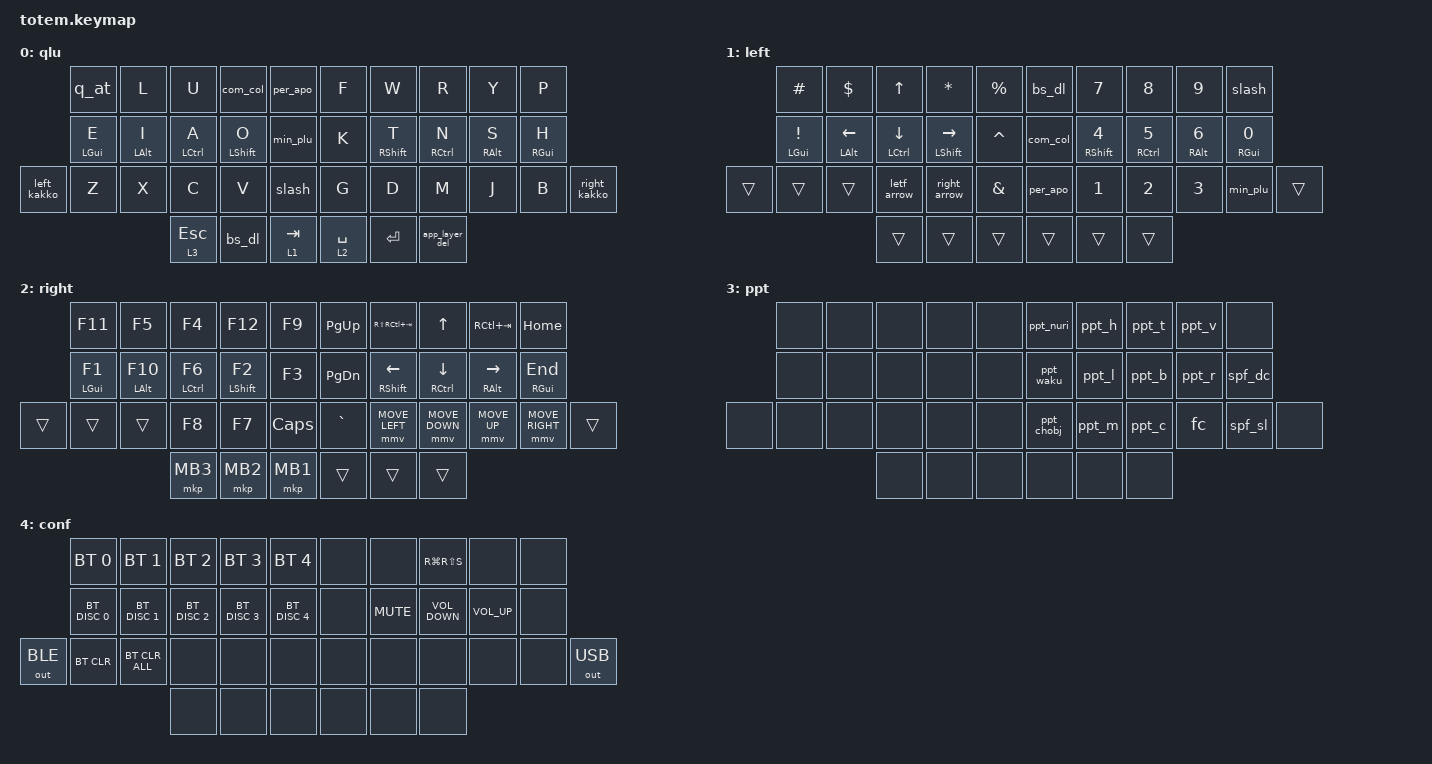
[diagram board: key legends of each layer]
#define ZMK_POINTING_DEFAULT_MOVE_VAL 1200  // 600
#define ZMK_POINTING_DEFAULT_SCRL_VAL 100   // 10

#include <behaviors.dtsi>
#include <dt-bindings/zmk/bt.h>
#include <dt-bindings/zmk/keys.h>
#include <dt-bindings/zmk/outputs.h>
#include <dt-bindings/zmk/pointing.h>

&mt {
    quick-tap-ms = <200>;
    flavor = "tap-preferred";
    tapping-term-ms = <225>;
    require-prior-idle-ms = <150>;
};

&lt {
    tapping-term-ms = <175>;
    quick-tap-ms = <200>;
    require-prior-idle-ms = <(-1)>;
    flavor = "hold-preferred";
};

/ {
    combos {
        compatible = "zmk,combos";

        en {
            bindings = <&kp LANGUAGE_2>;
            key-positions = <26 28>;
        };

        cp {
            bindings = <&kp LC(C)>;
            key-positions = <22 23>;
        };

        opst {
            bindings = <&kp LS(LC(V))>;
            key-positions = <24 25>;
        };

        jp {
            bindings = <&kp LANGUAGE_1>;
            key-positions = <27 28>;
        };
    };

    behaviors {
        bs_dl: bs_dl {
            compatible = "zmk,behavior-mod-morph";
            label = "BS_DL";
            bindings = <&kp BACKSPACE>, <&kp DELETE>;

            #binding-cells = <0>;
            mods = <(MOD_LSFT|MOD_RSFT)>;
        };

        app_layer_del: app_layer_del {
            compatible = "zmk,behavior-tap-dance";
            label = "APP_LAYER_DEL";
            #binding-cells = <0>;
            bindings = <&lt 4 K_APPLICATION>, <&kp DEL>;
        };

        min_plu: min_plu {
            compatible = "zmk,behavior-tap-dance";
            label = "MIN_PLU";
            #binding-cells = <0>;
            bindings = <&kp MINUS>, <&kp EQUAL>;
        };

        slash: slash {
            compatible = "zmk,behavior-tap-dance";
            label = "SLASH";
            #binding-cells = <0>;
            bindings = <&kp SLASH>, <&kp BACKSLASH>;
        };

        left_kakko: left_kakko {
            compatible = "zmk,behavior-tap-dance";
            label = "LEFT_KAKKO";
            #binding-cells = <0>;
            bindings = <&kp LEFT_PARENTHESIS>, <&kp LEFT_BRACKET>;
        };

        right_kakko: right_kakko {
            compatible = "zmk,behavior-tap-dance";
            label = "RIGHT_KAKKO";
            #binding-cells = <0>;
            bindings = <&kp RIGHT_PARENTHESIS>, <&kp RIGHT_BRACKET>;
        };

        com_col: com_col {
            compatible = "zmk,behavior-tap-dance";
            label = "COM_COL";
            #binding-cells = <0>;
            bindings = <&kp COMMA>, <&kp SEMICOLON>;
        };

        per_apo: per_apo {
            compatible = "zmk,behavior-tap-dance";
            label = "PER_APO";
            #binding-cells = <0>;
            bindings = <&kp PERIOD>, <&kp APOS>;
        };

        q_at: q_at {
            compatible = "zmk,behavior-tap-dance";
            label = "Q_AT";
            #binding-cells = <0>;
            bindings = <&kp Q>, <&kp AT_SIGN>;
        };
    };

    macros {
        right_arrow: right_arrow {
            compatible = "zmk,behavior-macro";
            #binding-cells = <0>;
            bindings = <&kp MINUS &kp GT>;
            label = "RIGHT_ARROW";
        };

        letf_arrow: letf_arrow {
            compatible = "zmk,behavior-macro";
            #binding-cells = <0>;
            bindings = <&kp LT &kp MINUS>;
            label = "LETF_ARROW";
        };

        ppt_l: ppt_l {
            compatible = "zmk,behavior-macro";
            #binding-cells = <0>;
            bindings = <&kp LA(H) &kp G &kp A &kp L>;
            label = "PPT_L";
        };

        ppt_r: ppt_r {
            compatible = "zmk,behavior-macro";
            #binding-cells = <0>;
            bindings = <&kp LA(H) &kp G &kp A &kp R>;
            label = "PPT_R";
        };

        ppt_t: ppt_t {
            compatible = "zmk,behavior-macro";
            #binding-cells = <0>;
            bindings = <&kp LA(H) &kp G &kp A &kp T>;
            label = "PPT_T";
        };

        ppt_b: ppt_b {
            compatible = "zmk,behavior-macro";
            #binding-cells = <0>;
            bindings = <&kp LA(H) &kp G &kp A &kp B>;
            label = "PPT_B";
        };

        ppt_h: ppt_h {
            compatible = "zmk,behavior-macro";
            #binding-cells = <0>;
            bindings = <&kp LA(H) &kp G &kp A &kp H>;
            label = "PPT_H";
        };

        ppt_v: ppt_v {
            compatible = "zmk,behavior-macro";
            #binding-cells = <0>;
            bindings = <&kp LA(H) &kp G &kp A &kp V>;
            label = "PPT_V";
        };

        ppt_m: ppt_m {
            compatible = "zmk,behavior-macro";
            #binding-cells = <0>;
            bindings = <&kp LA(H) &kp G &kp A &kp M>;
            label = "PPT_M";
        };

        ppt_c: ppt_c {
            compatible = "zmk,behavior-macro";
            #binding-cells = <0>;
            bindings = <&kp LA(H) &kp G &kp A &kp C>;
            label = "PPT_c";
        };

        ppt_nuri: ppt_nuri {
            compatible = "zmk,behavior-macro";
            #binding-cells = <0>;
            bindings = <&kp LEFT_ALT &kp J &kp D &kp S &kp F>;
            label = "PPT_NURI";
        };

        ppt_waku: ppt_waku {
            compatible = "zmk,behavior-macro";
            #binding-cells = <0>;
            bindings = <&kp LEFT_ALT &kp J &kp D &kp S &kp O>;
            label = "PPT_WAKU";
        };

        ppt_chobj: ppt_chobj {
            compatible = "zmk,behavior-macro";
            #binding-cells = <0>;
            bindings = <&kp LEFT_ALT &kp J &kp D &kp E>;
            label = "PPT_CHOBJ";
        };

        fc: fc {
            compatible = "zmk,behavior-macro";
            #binding-cells = <0>;
            bindings = <&kp LA(H) &kp F &kp C>;
            label = "FC";
        };

        spf_dc: spf_dc {
            compatible = "zmk,behavior-macro";
            #binding-cells = <0>;
            bindings =
                <&kp LANGUAGE_2>,
                <&macro_wait_time 75>,
                <&kp LA(I)>,
                <&macro_wait_time 75>,
                <&kp LS(Y)>,
                <&macro_wait_time 75>,
                <&kp C>;

            label = "SPF_DC";
        };

        spf_sl: spf_sl {
            compatible = "zmk,behavior-macro";
            #binding-cells = <0>;
            bindings =
                <&kp LANGUAGE_2>,
                <&macro_wait_time 75>,
                <&kp LA(I)>,
                <&macro_wait_time 75>,
                <&kp C>;

            label = "SPF_SL";
        };
    };

    keymap {
        compatible = "zmk,keymap";

        base_layer {
            label = "qlu";
            bindings = <
             &q_at       &kp L       &kp U         &com_col     &per_apo     &kp F        &kp W        &kp R           &kp Y       &kp P
             &mt LGUI E  &mt LALT I  &mt LCTRL A   &mt LSHFT O  &min_plu     &kp K        &mt RSHFT T  &mt RCTRL N     &mt RALT S  &mt RGUI H
&left_kakko  &kp Z       &kp X       &kp C         &kp V        &slash       &kp G        &kp D        &kp M           &kp J       &kp B       &right_kakko
                                     &lt 3 ESCAPE  &bs_dl       &lt 1 TAB    &lt 2 SPACE  &kp ENTER    &app_layer_del
            >;
        };

        left {
            label = "left";
            bindings = <
        &kp HASH              &kp DOLLAR     &kp UP_ARROW          &kp ASTERISK     &kp PERCENT    &bs_dl    &kp N7              &kp N8        &kp N9             &slash
        &mt LGUI EXCLAMATION  &mt LALT LEFT  &mt LCTRL DOWN_ARROW  &mt LSHFT RIGHT  &kp CARET      &com_col  &mt RSHFT NUMBER_4  &mt RCTRL N5  &mt RALT NUMBER_6  &mt RIGHT_GUI N0
&trans  &trans                &trans         &letf_arrow           &right_arrow     &kp AMPS       &per_apo  &kp N1              &kp N2        &kp N3             &min_plu          &trans
                                             &trans                &trans           &trans         &trans    &trans              &trans
            >;
        };

        right {
            label = "right";
            bindings = <
        &kp F11      &kp F5        &kp F4        &kp F12       &kp F9      &kp PAGE_UP    &kp RS(RC(TAB))  &kp UP_ARROW    &kp RC(TAB)     &kp HOME
        &mt LGUI F1  &mt LALT F10  &mt LCTRL F6  &mt LSHFT F2  &kp F3      &kp PAGE_DOWN  &mt RSHFT LEFT   &mt RCTRL DOWN  &mt RALT RIGHT  &mt RIGHT_GUI END
&trans  &trans       &trans        &kp F8        &kp F7        &kp CAPS    &kp GRAVE      &mmv MOVE_LEFT   &mmv MOVE_DOWN  &mmv MOVE_UP    &mmv MOVE_RIGHT    &trans
                                   &mkp MB3      &mkp MB2      &mkp MB1    &trans         &trans           &trans
            >;
        };

        ppt {
            bindings = <
       &none  &none  &none  &none  &none    &ppt_nuri   &ppt_h  &ppt_t  &ppt_v  &none
       &none  &none  &none  &none  &none    &ppt_waku   &ppt_l  &ppt_b  &ppt_r  &spf_dc
&none  &none  &none  &none  &none  &none    &ppt_chobj  &ppt_m  &ppt_c  &fc     &spf_sl  &none
                     &none  &none  &none    &none       &none   &none
            >;
        };

        conf {
            bindings = <
              &bt BT_SEL 0   &bt BT_SEL 1    &bt BT_SEL 2   &bt BT_SEL 3   &bt BT_SEL 4     &none  &none       &kp RG(RS(S))      &none            &none
              &bt BT_DISC 0  &bt BT_DISC 1   &bt BT_DISC 2  &bt BT_DISC 3  &bt BT_DISC 4    &none  &kp C_MUTE  &kp C_VOLUME_DOWN  &kp C_VOLUME_UP  &none
&out OUT_BLE  &bt BT_CLR     &bt BT_CLR_ALL  &none          &none          &none            &none  &none       &none              &none            &none  &out OUT_USB
                                             &none          &none          &none            &none  &none       &none
            >;
        };
    };
};
